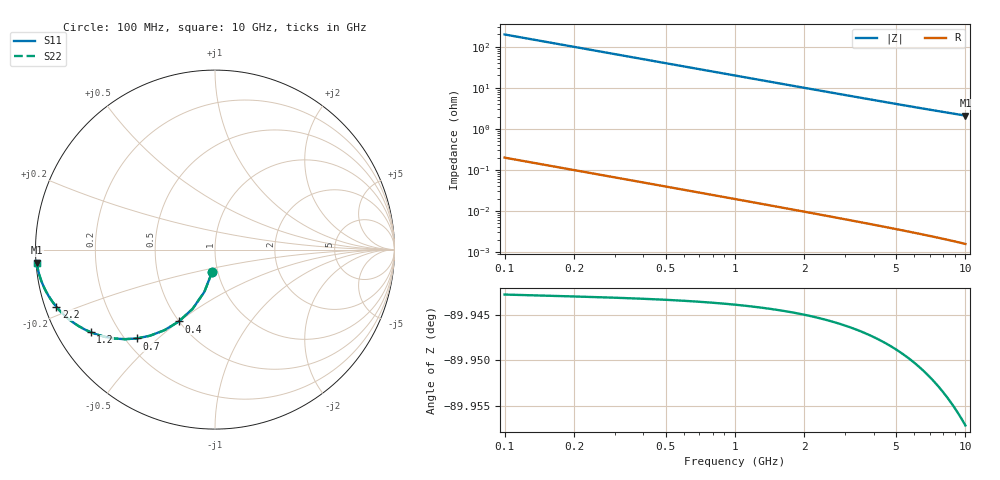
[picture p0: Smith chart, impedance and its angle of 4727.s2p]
# Hz S RI R 50.00
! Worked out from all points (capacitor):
!   100 points, 100 MHz to 10 GHz, reference 50 ohm
!   read as one part in shunt: C = 7.98 pF near 100 MHz
!   lowest |Z| = 2.11 ohm at 10 GHz (marker M1)
!   S11 on the Smith chart (normalised r, x): 100 MHz: 0.94, -0.24; 400 MHz: 0.50, -0.50; 700 MHz: 0.25, -0.43; 1.2 GHz: 0.10, -0.30; 2.2 GHz: 0.03, -0.17; 10 GHz: 0.00, -0.04
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1e8  -0.0156 -0.1234  0.9844 -0.1235  0.9844 -0.1235  -0.0156 -0.1234
2e8  -0.0594 -0.2358  0.9406 -0.236  0.9406 -0.236  -0.0594 -0.2358
3e8  -0.1243 -0.3292  0.8757 -0.3296  0.8757 -0.3296  -0.1243 -0.3292
4e8  -0.2013 -0.4003  0.7987 -0.4007  0.7987 -0.4007  -0.2013 -0.4003
5e8  -0.2824 -0.4494  0.7175 -0.45  0.7175 -0.45  -0.2824 -0.4494
6e8  -0.3616 -0.4796  0.6383 -0.4803  0.6383 -0.4803  -0.3616 -0.4796
7e8  -0.4352 -0.4949  0.5647 -0.4957  0.5647 -0.4957  -0.4352 -0.4949
9e8  -0.5601 -0.4954  0.4399 -0.4964  0.4399 -0.4964  -0.5601 -0.4954
1e9  -0.6111 -0.4865  0.3889 -0.4875  0.3889 -0.4875  -0.6111 -0.4865
1.2e9  -0.6934 -0.4599  0.3066 -0.4612  0.3066 -0.4612  -0.6934 -0.4599
1.3e9  -0.7262 -0.4447  0.2737 -0.4461  0.2737 -0.4461  -0.7262 -0.4447
1.5e9  -0.7792 -0.4134  0.2207 -0.415  0.2207 -0.415  -0.7792 -0.4134
1.8e9  -0.8355 -0.3692  0.1645 -0.3712  0.1645 -0.3712  -0.8355 -0.3692
2.2e9  -0.8834 -0.3192  0.1165 -0.3215  0.1165 -0.3215  -0.8834 -0.3192
2.7e9  -0.9194 -0.2702  0.0806 -0.2732  0.0806 -0.2732  -0.9194 -0.2702
3.4e9  -0.9475 -0.2205  0.0524 -0.2242  0.0524 -0.2242  -0.9475 -0.2205
4.2e9  -0.965 -0.181  0.035 -0.1856  0.035 -0.1856  -0.965 -0.181
5.1e9  -0.976 -0.1497  0.024 -0.1554  0.024 -0.1554  -0.976 -0.1497
5.9e9  -0.9819 -0.1293  0.018 -0.1358  0.018 -0.1358  -0.9819 -0.1293
6.7e9  -0.9859 -0.1133  0.014 -0.1207  0.014 -0.1207  -0.9859 -0.1133
8.4e9  -0.991 -0.0887  0.00886 -0.0981  0.00886 -0.0981  -0.991 -0.0887
1e10  -0.9937 -0.0726  0.00619 -0.0839  0.00619 -0.0839  -0.9937 -0.0726
